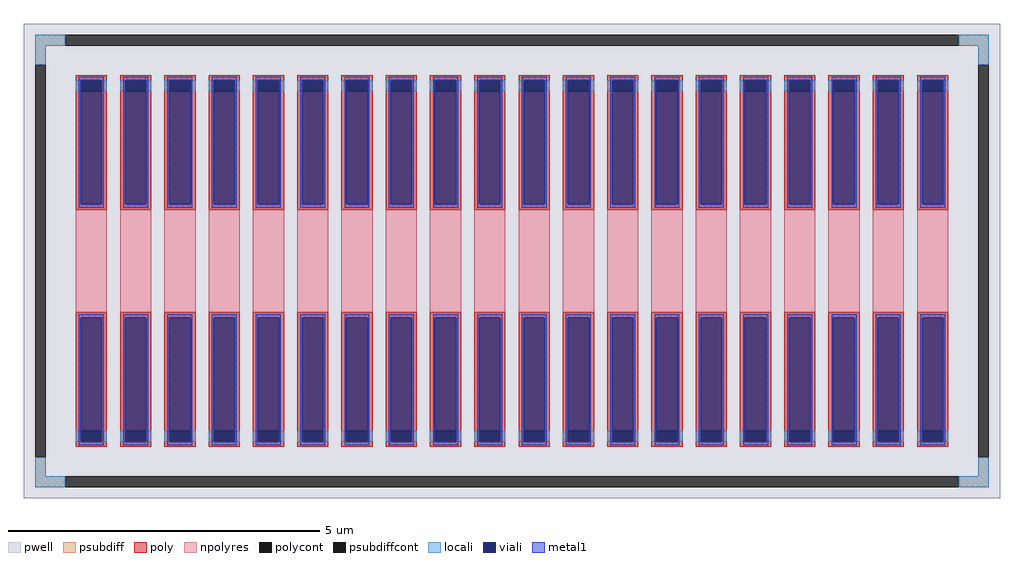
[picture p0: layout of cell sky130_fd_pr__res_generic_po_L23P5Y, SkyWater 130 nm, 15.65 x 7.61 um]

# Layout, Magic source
magic
tech sky130A
magscale 1 2
<< pwell >>
rect -1565 -761 1565 761
<< psubdiff >>
rect -1529 691 -1433 725
rect 1433 691 1529 725
rect -1529 629 -1495 691
rect 1495 629 1529 691
rect -1529 -691 -1495 -629
rect 1495 -691 1529 -629
rect -1529 -725 -1433 -691
rect 1433 -725 1529 -691
<< psubdiffcont >>
rect -1433 691 1433 725
rect -1529 -629 -1495 629
rect 1495 -629 1529 629
rect -1433 -725 1433 -691
<< poly >>
rect -1399 579 -1299 595
rect -1399 545 -1383 579
rect -1315 545 -1299 579
rect -1399 165 -1299 545
rect -1399 -545 -1299 -165
rect -1399 -579 -1383 -545
rect -1315 -579 -1299 -545
rect -1399 -595 -1299 -579
rect -1257 579 -1157 595
rect -1257 545 -1241 579
rect -1173 545 -1157 579
rect -1257 165 -1157 545
rect -1257 -545 -1157 -165
rect -1257 -579 -1241 -545
rect -1173 -579 -1157 -545
rect -1257 -595 -1157 -579
rect -1115 579 -1015 595
rect -1115 545 -1099 579
rect -1031 545 -1015 579
rect -1115 165 -1015 545
rect -1115 -545 -1015 -165
rect -1115 -579 -1099 -545
rect -1031 -579 -1015 -545
rect -1115 -595 -1015 -579
rect -973 579 -873 595
rect -973 545 -957 579
rect -889 545 -873 579
rect -973 165 -873 545
rect -973 -545 -873 -165
rect -973 -579 -957 -545
rect -889 -579 -873 -545
rect -973 -595 -873 -579
rect -831 579 -731 595
rect -831 545 -815 579
rect -747 545 -731 579
rect -831 165 -731 545
rect -831 -545 -731 -165
rect -831 -579 -815 -545
rect -747 -579 -731 -545
rect -831 -595 -731 -579
rect -689 579 -589 595
rect -689 545 -673 579
rect -605 545 -589 579
rect -689 165 -589 545
rect -689 -545 -589 -165
rect -689 -579 -673 -545
rect -605 -579 -589 -545
rect -689 -595 -589 -579
rect -547 579 -447 595
rect -547 545 -531 579
rect -463 545 -447 579
rect -547 165 -447 545
rect -547 -545 -447 -165
rect -547 -579 -531 -545
rect -463 -579 -447 -545
rect -547 -595 -447 -579
rect -405 579 -305 595
rect -405 545 -389 579
rect -321 545 -305 579
rect -405 165 -305 545
rect -405 -545 -305 -165
rect -405 -579 -389 -545
rect -321 -579 -305 -545
rect -405 -595 -305 -579
rect -263 579 -163 595
rect -263 545 -247 579
rect -179 545 -163 579
rect -263 165 -163 545
rect -263 -545 -163 -165
rect -263 -579 -247 -545
rect -179 -579 -163 -545
rect -263 -595 -163 -579
rect -121 579 -21 595
rect -121 545 -105 579
rect -37 545 -21 579
rect -121 165 -21 545
rect -121 -545 -21 -165
rect -121 -579 -105 -545
rect -37 -579 -21 -545
rect -121 -595 -21 -579
rect 21 579 121 595
rect 21 545 37 579
rect 105 545 121 579
rect 21 165 121 545
rect 21 -545 121 -165
rect 21 -579 37 -545
rect 105 -579 121 -545
rect 21 -595 121 -579
rect 163 579 263 595
rect 163 545 179 579
rect 247 545 263 579
rect 163 165 263 545
rect 163 -545 263 -165
rect 163 -579 179 -545
rect 247 -579 263 -545
rect 163 -595 263 -579
rect 305 579 405 595
rect 305 545 321 579
rect 389 545 405 579
rect 305 165 405 545
rect 305 -545 405 -165
rect 305 -579 321 -545
rect 389 -579 405 -545
rect 305 -595 405 -579
rect 447 579 547 595
rect 447 545 463 579
rect 531 545 547 579
rect 447 165 547 545
rect 447 -545 547 -165
rect 447 -579 463 -545
rect 531 -579 547 -545
rect 447 -595 547 -579
rect 589 579 689 595
rect 589 545 605 579
rect 673 545 689 579
rect 589 165 689 545
rect 589 -545 689 -165
rect 589 -579 605 -545
rect 673 -579 689 -545
rect 589 -595 689 -579
rect 731 579 831 595
rect 731 545 747 579
rect 815 545 831 579
rect 731 165 831 545
rect 731 -545 831 -165
rect 731 -579 747 -545
rect 815 -579 831 -545
rect 731 -595 831 -579
rect 873 579 973 595
rect 873 545 889 579
rect 957 545 973 579
rect 873 165 973 545
rect 873 -545 973 -165
rect 873 -579 889 -545
rect 957 -579 973 -545
rect 873 -595 973 -579
rect 1015 579 1115 595
rect 1015 545 1031 579
rect 1099 545 1115 579
rect 1015 165 1115 545
rect 1015 -545 1115 -165
rect 1015 -579 1031 -545
rect 1099 -579 1115 -545
rect 1015 -595 1115 -579
rect 1157 579 1257 595
rect 1157 545 1173 579
rect 1241 545 1257 579
rect 1157 165 1257 545
rect 1157 -545 1257 -165
rect 1157 -579 1173 -545
rect 1241 -579 1257 -545
rect 1157 -595 1257 -579
rect 1299 579 1399 595
rect 1299 545 1315 579
rect 1383 545 1399 579
rect 1299 165 1399 545
rect 1299 -545 1399 -165
rect 1299 -579 1315 -545
rect 1383 -579 1399 -545
rect 1299 -595 1399 -579
<< polycont >>
rect -1383 545 -1315 579
rect -1383 -579 -1315 -545
rect -1241 545 -1173 579
rect -1241 -579 -1173 -545
rect -1099 545 -1031 579
rect -1099 -579 -1031 -545
rect -957 545 -889 579
rect -957 -579 -889 -545
rect -815 545 -747 579
rect -815 -579 -747 -545
rect -673 545 -605 579
rect -673 -579 -605 -545
rect -531 545 -463 579
rect -531 -579 -463 -545
rect -389 545 -321 579
rect -389 -579 -321 -545
rect -247 545 -179 579
rect -247 -579 -179 -545
rect -105 545 -37 579
rect -105 -579 -37 -545
rect 37 545 105 579
rect 37 -579 105 -545
rect 179 545 247 579
rect 179 -579 247 -545
rect 321 545 389 579
rect 321 -579 389 -545
rect 463 545 531 579
rect 463 -579 531 -545
rect 605 545 673 579
rect 605 -579 673 -545
rect 747 545 815 579
rect 747 -579 815 -545
rect 889 545 957 579
rect 889 -579 957 -545
rect 1031 545 1099 579
rect 1031 -579 1099 -545
rect 1173 545 1241 579
rect 1173 -579 1241 -545
rect 1315 545 1383 579
rect 1315 -579 1383 -545
<< npolyres >>
rect -1399 -165 -1299 165
rect -1257 -165 -1157 165
rect -1115 -165 -1015 165
rect -973 -165 -873 165
rect -831 -165 -731 165
rect -689 -165 -589 165
rect -547 -165 -447 165
rect -405 -165 -305 165
rect -263 -165 -163 165
rect -121 -165 -21 165
rect 21 -165 121 165
rect 163 -165 263 165
rect 305 -165 405 165
rect 447 -165 547 165
rect 589 -165 689 165
rect 731 -165 831 165
rect 873 -165 973 165
rect 1015 -165 1115 165
rect 1157 -165 1257 165
rect 1299 -165 1399 165
<< locali >>
rect -1529 691 -1433 725
rect 1433 691 1529 725
rect -1529 629 -1495 691
rect 1495 629 1529 691
rect -1399 545 -1383 579
rect -1315 545 -1299 579
rect -1257 545 -1241 579
rect -1173 545 -1157 579
rect -1115 545 -1099 579
rect -1031 545 -1015 579
rect -973 545 -957 579
rect -889 545 -873 579
rect -831 545 -815 579
rect -747 545 -731 579
rect -689 545 -673 579
rect -605 545 -589 579
rect -547 545 -531 579
rect -463 545 -447 579
rect -405 545 -389 579
rect -321 545 -305 579
rect -263 545 -247 579
rect -179 545 -163 579
rect -121 545 -105 579
rect -37 545 -21 579
rect 21 545 37 579
rect 105 545 121 579
rect 163 545 179 579
rect 247 545 263 579
rect 305 545 321 579
rect 389 545 405 579
rect 447 545 463 579
rect 531 545 547 579
rect 589 545 605 579
rect 673 545 689 579
rect 731 545 747 579
rect 815 545 831 579
rect 873 545 889 579
rect 957 545 973 579
rect 1015 545 1031 579
rect 1099 545 1115 579
rect 1157 545 1173 579
rect 1241 545 1257 579
rect 1299 545 1315 579
rect 1383 545 1399 579
rect -1399 -579 -1383 -545
rect -1315 -579 -1299 -545
rect -1257 -579 -1241 -545
rect -1173 -579 -1157 -545
rect -1115 -579 -1099 -545
rect -1031 -579 -1015 -545
rect -973 -579 -957 -545
rect -889 -579 -873 -545
rect -831 -579 -815 -545
rect -747 -579 -731 -545
rect -689 -579 -673 -545
rect -605 -579 -589 -545
rect -547 -579 -531 -545
rect -463 -579 -447 -545
rect -405 -579 -389 -545
rect -321 -579 -305 -545
rect -263 -579 -247 -545
rect -179 -579 -163 -545
rect -121 -579 -105 -545
rect -37 -579 -21 -545
rect 21 -579 37 -545
rect 105 -579 121 -545
rect 163 -579 179 -545
rect 247 -579 263 -545
rect 305 -579 321 -545
rect 389 -579 405 -545
rect 447 -579 463 -545
rect 531 -579 547 -545
rect 589 -579 605 -545
rect 673 -579 689 -545
rect 731 -579 747 -545
rect 815 -579 831 -545
rect 873 -579 889 -545
rect 957 -579 973 -545
rect 1015 -579 1031 -545
rect 1099 -579 1115 -545
rect 1157 -579 1173 -545
rect 1241 -579 1257 -545
rect 1299 -579 1315 -545
rect 1383 -579 1399 -545
rect -1529 -691 -1495 -629
rect 1495 -691 1529 -629
rect -1529 -725 -1433 -691
rect 1433 -725 1529 -691
<< viali >>
rect -1383 545 -1315 579
rect -1241 545 -1173 579
rect -1099 545 -1031 579
rect -957 545 -889 579
rect -815 545 -747 579
rect -673 545 -605 579
rect -531 545 -463 579
rect -389 545 -321 579
rect -247 545 -179 579
rect -105 545 -37 579
rect 37 545 105 579
rect 179 545 247 579
rect 321 545 389 579
rect 463 545 531 579
rect 605 545 673 579
rect 747 545 815 579
rect 889 545 957 579
rect 1031 545 1099 579
rect 1173 545 1241 579
rect 1315 545 1383 579
rect -1383 182 -1315 545
rect -1241 182 -1173 545
rect -1099 182 -1031 545
rect -957 182 -889 545
rect -815 182 -747 545
rect -673 182 -605 545
rect -531 182 -463 545
rect -389 182 -321 545
rect -247 182 -179 545
rect -105 182 -37 545
rect 37 182 105 545
rect 179 182 247 545
rect 321 182 389 545
rect 463 182 531 545
rect 605 182 673 545
rect 747 182 815 545
rect 889 182 957 545
rect 1031 182 1099 545
rect 1173 182 1241 545
rect 1315 182 1383 545
rect -1383 -545 -1315 -182
rect -1241 -545 -1173 -182
rect -1099 -545 -1031 -182
rect -957 -545 -889 -182
rect -815 -545 -747 -182
rect -673 -545 -605 -182
rect -531 -545 -463 -182
rect -389 -545 -321 -182
rect -247 -545 -179 -182
rect -105 -545 -37 -182
rect 37 -545 105 -182
rect 179 -545 247 -182
rect 321 -545 389 -182
rect 463 -545 531 -182
rect 605 -545 673 -182
rect 747 -545 815 -182
rect 889 -545 957 -182
rect 1031 -545 1099 -182
rect 1173 -545 1241 -182
rect 1315 -545 1383 -182
rect -1383 -579 -1315 -545
rect -1241 -579 -1173 -545
rect -1099 -579 -1031 -545
rect -957 -579 -889 -545
rect -815 -579 -747 -545
rect -673 -579 -605 -545
rect -531 -579 -463 -545
rect -389 -579 -321 -545
rect -247 -579 -179 -545
rect -105 -579 -37 -545
rect 37 -579 105 -545
rect 179 -579 247 -545
rect 321 -579 389 -545
rect 463 -579 531 -545
rect 605 -579 673 -545
rect 747 -579 815 -545
rect 889 -579 957 -545
rect 1031 -579 1099 -545
rect 1173 -579 1241 -545
rect 1315 -579 1383 -545
<< metal1 >>
rect -1389 579 -1309 591
rect -1389 182 -1383 579
rect -1315 182 -1309 579
rect -1389 170 -1309 182
rect -1247 579 -1167 591
rect -1247 182 -1241 579
rect -1173 182 -1167 579
rect -1247 170 -1167 182
rect -1105 579 -1025 591
rect -1105 182 -1099 579
rect -1031 182 -1025 579
rect -1105 170 -1025 182
rect -963 579 -883 591
rect -963 182 -957 579
rect -889 182 -883 579
rect -963 170 -883 182
rect -821 579 -741 591
rect -821 182 -815 579
rect -747 182 -741 579
rect -821 170 -741 182
rect -679 579 -599 591
rect -679 182 -673 579
rect -605 182 -599 579
rect -679 170 -599 182
rect -537 579 -457 591
rect -537 182 -531 579
rect -463 182 -457 579
rect -537 170 -457 182
rect -395 579 -315 591
rect -395 182 -389 579
rect -321 182 -315 579
rect -395 170 -315 182
rect -253 579 -173 591
rect -253 182 -247 579
rect -179 182 -173 579
rect -253 170 -173 182
rect -111 579 -31 591
rect -111 182 -105 579
rect -37 182 -31 579
rect -111 170 -31 182
rect 31 579 111 591
rect 31 182 37 579
rect 105 182 111 579
rect 31 170 111 182
rect 173 579 253 591
rect 173 182 179 579
rect 247 182 253 579
rect 173 170 253 182
rect 315 579 395 591
rect 315 182 321 579
rect 389 182 395 579
rect 315 170 395 182
rect 457 579 537 591
rect 457 182 463 579
rect 531 182 537 579
rect 457 170 537 182
rect 599 579 679 591
rect 599 182 605 579
rect 673 182 679 579
rect 599 170 679 182
rect 741 579 821 591
rect 741 182 747 579
rect 815 182 821 579
rect 741 170 821 182
rect 883 579 963 591
rect 883 182 889 579
rect 957 182 963 579
rect 883 170 963 182
rect 1025 579 1105 591
rect 1025 182 1031 579
rect 1099 182 1105 579
rect 1025 170 1105 182
rect 1167 579 1247 591
rect 1167 182 1173 579
rect 1241 182 1247 579
rect 1167 170 1247 182
rect 1309 579 1389 591
rect 1309 182 1315 579
rect 1383 182 1389 579
rect 1309 170 1389 182
rect -1389 -182 -1309 -170
rect -1389 -579 -1383 -182
rect -1315 -579 -1309 -182
rect -1389 -591 -1309 -579
rect -1247 -182 -1167 -170
rect -1247 -579 -1241 -182
rect -1173 -579 -1167 -182
rect -1247 -591 -1167 -579
rect -1105 -182 -1025 -170
rect -1105 -579 -1099 -182
rect -1031 -579 -1025 -182
rect -1105 -591 -1025 -579
rect -963 -182 -883 -170
rect -963 -579 -957 -182
rect -889 -579 -883 -182
rect -963 -591 -883 -579
rect -821 -182 -741 -170
rect -821 -579 -815 -182
rect -747 -579 -741 -182
rect -821 -591 -741 -579
rect -679 -182 -599 -170
rect -679 -579 -673 -182
rect -605 -579 -599 -182
rect -679 -591 -599 -579
rect -537 -182 -457 -170
rect -537 -579 -531 -182
rect -463 -579 -457 -182
rect -537 -591 -457 -579
rect -395 -182 -315 -170
rect -395 -579 -389 -182
rect -321 -579 -315 -182
rect -395 -591 -315 -579
rect -253 -182 -173 -170
rect -253 -579 -247 -182
rect -179 -579 -173 -182
rect -253 -591 -173 -579
rect -111 -182 -31 -170
rect -111 -579 -105 -182
rect -37 -579 -31 -182
rect -111 -591 -31 -579
rect 31 -182 111 -170
rect 31 -579 37 -182
rect 105 -579 111 -182
rect 31 -591 111 -579
rect 173 -182 253 -170
rect 173 -579 179 -182
rect 247 -579 253 -182
rect 173 -591 253 -579
rect 315 -182 395 -170
rect 315 -579 321 -182
rect 389 -579 395 -182
rect 315 -591 395 -579
rect 457 -182 537 -170
rect 457 -579 463 -182
rect 531 -579 537 -182
rect 457 -591 537 -579
rect 599 -182 679 -170
rect 599 -579 605 -182
rect 673 -579 679 -182
rect 599 -591 679 -579
rect 741 -182 821 -170
rect 741 -579 747 -182
rect 815 -579 821 -182
rect 741 -591 821 -579
rect 883 -182 963 -170
rect 883 -579 889 -182
rect 957 -579 963 -182
rect 883 -591 963 -579
rect 1025 -182 1105 -170
rect 1025 -579 1031 -182
rect 1099 -579 1105 -182
rect 1025 -591 1105 -579
rect 1167 -182 1247 -170
rect 1167 -579 1173 -182
rect 1241 -579 1247 -182
rect 1167 -591 1247 -579
rect 1309 -182 1389 -170
rect 1309 -579 1315 -182
rect 1383 -579 1389 -182
rect 1309 -591 1389 -579
<< properties >>
string FIXED_BBOX -1512 -708 1512 708
string gencell sky130_fd_pr__res_generic_po
string library sky130
string parameters w 0.5 l 1.650 m 1 nx 20 wmin 0.330 lmin 1.650 rho 48.2 val 159.06 dummy 0 dw 0.0 term 0.0 sterm 0.0 caplen 0.4 snake 0 guard 1 glc 1 grc 1 gtc 1 gbc 1 roverlap 0 endcov 100 full_metal 1 hv_guard 0 n_guard 0 vias 1 viagb 0 viagt 0 viagl 0 viagr 0
<< end >>
